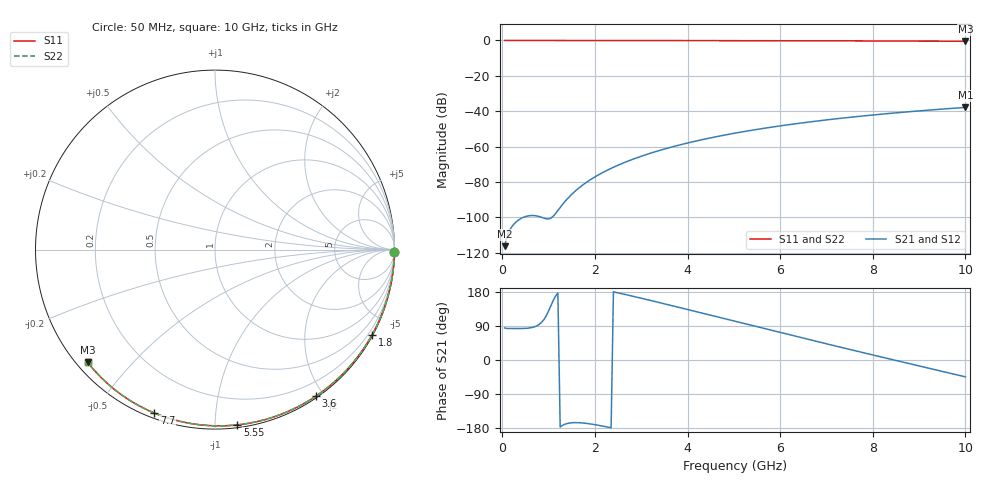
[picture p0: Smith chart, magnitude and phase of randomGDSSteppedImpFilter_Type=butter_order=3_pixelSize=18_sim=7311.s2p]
! freq	dB(S11)	phase(S11)	dB(S12)	phase(S12)
!  dB(S21)	phase(S21)	dB(S22)	phase(S22)
!S-par simulation data
#  GHz  S  DB  R 50
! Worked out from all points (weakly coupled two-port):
!   200 points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, 50 MHz to 10 GHz, reference 50 ohm
!   highest |S21| = -37.85 dB at 10 GHz (marker M1); lowest = -116.3 dB at 50 MHz (marker M2)
!   lowest |S11| = -0.5 dB at 10 GHz (marker M3), VSWR 37.00, Z = 1.55 - j19 ohm
!   |S11| at or under -10 dB: nowhere
!   |S22| runs from -0.5 to 0.0 dB; largest |S21 - S12| = 0
!   S11 on the Smith chart (normalised r, x): 50 MHz: open; 1.8 GHz: 0.03, -3.95; 3.6 GHz: 0.02, -1.90; 5.55 GHz: 0.02, -1.14; 7.7 GHz: 0.02, -0.69; 10 GHz: 0.03, -0.38
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0.05  -0.00 -0.8  -116.29 84.6  -116.29 84.6  -0.00 -0.8
0.45  -0.01 -7.2  -100.02 83.2  -100.02 83.2  -0.01 -7.2
0.9  -0.02 -14.3  -100.46 107.0  -100.46 107.0  -0.02 -14.3
1.75  -0.04 -27.6  -81.46 -166.4  -81.46 -166.4  -0.04 -27.6
1.8  -0.04 -28.4  -80.52 -167.1  -80.52 -167.1  -0.04 -28.4
1.85  -0.04 -29.2  -79.62 -167.8  -79.62 -167.8  -0.04 -29.2
2.05  -0.04 -32.2  -76.37 -171.7  -76.37 -171.7  -0.04 -32.2
2.25  -0.05 -35.3  -73.57 -176.4  -73.57 -176.4  -0.05 -35.3
2.55  -0.05 -39.9  -69.95 175.8  -69.95 175.8  -0.05 -39.9
2.95  -0.06 -45.9  -65.91 164.5  -65.91 164.5  -0.06 -45.9
3.4  -0.07 -52.5  -62.13 151.3  -62.13 151.3  -0.07 -52.5
3.6  -0.07 -55.4  -60.65 145.3  -60.65 145.3  -0.07 -55.4
3.9  -0.08 -59.8  -58.61 136.3  -58.61 136.3  -0.08 -59.8
4.3  -0.09 -65.5  -56.17 124.1  -56.17 124.1  -0.09 -65.5
5.05  -0.12 -75.9  -52.28 101.3  -52.28 101.3  -0.12 -75.9
5.55  -0.14 -82.7  -50.07 86.2  -50.07 86.2  -0.14 -82.7
6.1  -0.16 -90.0  -47.92 69.6  -47.92 69.6  -0.16 -90.0
6.7  -0.19 -97.8  -45.85 51.6  -45.85 51.6  -0.19 -97.8
7.7  -0.25 -110.4  -42.91 22.1  -42.91 22.1  -0.25 -110.4
8.35  -0.30 -118.4  -41.27 3.1  -41.27 3.1  -0.30 -118.4
9.2  -0.38 -128.8  -39.39 -21.5  -39.39 -21.5  -0.38 -128.8
10  -0.47 -138.4  -37.85 -44.4  -37.85 -44.4  -0.47 -138.4
